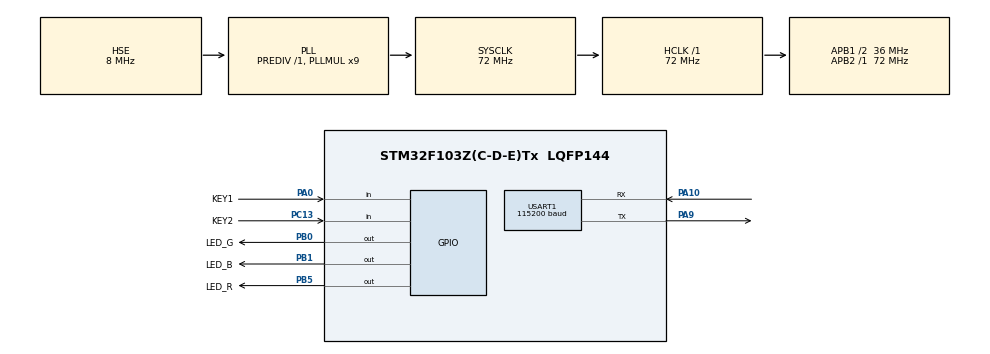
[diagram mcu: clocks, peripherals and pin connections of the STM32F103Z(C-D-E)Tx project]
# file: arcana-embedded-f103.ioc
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FREERTOS.Tasks01=defaultTask,24,256,StartDefaultTask,Default,NULL,Dynamic,NULL,NULL
FREERTOS.configTOTAL_HEAP_SIZE=10240
FREERTOS.configUSE_NEWLIB_REENTRANT=0
Mcu.Family=STM32F1
Mcu.Name=STM32F103Z(C-D-E)Tx
Mcu.Package=LQFP144
NVIC.PriorityGroup=NVIC_PRIORITYGROUP_4
NVIC.TIM4_IRQn=true\:15\:0\:false\:false\:true\:false\:false\:true\:true
NVIC.TimeBase=TIM4_IRQn
NVIC.TimeBaseIP=TIM4
NVIC.USART1_IRQn=true\:5\:0\:false\:false\:true\:true\:true\:true\:true
OSC_IN.Mode=HSE-External-Oscillator
OSC_IN.Signal=RCC_OSC_IN
OSC_OUT.Mode=HSE-External-Oscillator
OSC_OUT.Signal=RCC_OSC_OUT
PA0-WKUP.GPIO_Label=KEY1
PA0-WKUP.Signal=GPIO_Input
PA10.Mode=Asynchronous
PA10.Signal=USART1_RX
PA13.Mode=Serial_Wire
PA13.Signal=SYS_JTMS-SWDIO
PA14.Mode=Serial_Wire
PA14.Signal=SYS_JTCK-SWCLK
PA9.Mode=Asynchronous
PA9.Signal=USART1_TX
PB0.GPIO_Label=LED_G
PB0.GPIO_Speed=GPIO_SPEED_FREQ_LOW
PB0.PinState=GPIO_PIN_SET
PB0.Signal=GPIO_Output
PB1.GPIO_Label=LED_B
PB1.GPIO_Speed=GPIO_SPEED_FREQ_LOW
PB1.PinState=GPIO_PIN_SET
PB1.Signal=GPIO_Output
PB5.GPIO_Label=LED_R
PB5.GPIO_Speed=GPIO_SPEED_FREQ_LOW
PB5.PinState=GPIO_PIN_SET
PB5.Signal=GPIO_Output
PC13-TAMPER-RTC.GPIO_Label=KEY2
PC13-TAMPER-RTC.Signal=GPIO_Input
PD0.Signal=FSMC_D2_DA2
PD1.Signal=FSMC_D3_DA3
PD10.Signal=FSMC_D15_DA15
PD14.Signal=FSMC_D0_DA0
PD15.Signal=FSMC_D1_DA1
PD4.Signal=FSMC_NOE
PD5.Signal=FSMC_NWE
PD8.Signal=FSMC_D13_DA13
PD9.Signal=FSMC_D14_DA14
PE10.Signal=FSMC_D7_DA7
PE11.Signal=FSMC_D8_DA8
PE12.Signal=FSMC_D9_DA9
PE13.Signal=FSMC_D10_DA10
PE14.Signal=FSMC_D11_DA11
PE15.Signal=FSMC_D12_DA12
PE2.Signal=FSMC_A23
PE7.Signal=FSMC_D4_DA4
PE8.Signal=FSMC_D5_DA5
PE9.Signal=FSMC_D6_DA6
PG12.Signal=FSMC_NE4
ProjectManager.HeapSize=0x200
ProjectManager.StackSize=0x400
ProjectManager.TargetToolchain=STM32CubeIDE
RCC.AHBFreq_Value=72000000
RCC.APB1CLKDivider=RCC_HCLK_DIV2
RCC.APB1Freq_Value=36000000
RCC.APB1TimFreq_Value=72000000
RCC.APB2Freq_Value=72000000
RCC.APB2TimFreq_Value=72000000
RCC.HCLKFreq_Value=72000000
RCC.HSE_VALUE=8000000
RCC.PLLMUL=RCC_PLL_MUL9
RCC.PLLMul=RCC_PLL_MUL9
RCC.PLLSourceVirtual=RCC_PLLSOURCE_HSE
RCC.SYSCLKFreq_VALUE=72000000
RCC.SYSCLKSource=RCC_SYSCLKSOURCE_PLLCLK
RCC.USBFreq_Value=72000000
SH.FSMC_A23.0=FSMC_A23
SH.FSMC_D0_DA0.0=FSMC_D0
SH.FSMC_D10_DA10.0=FSMC_D10
SH.FSMC_D11_DA11.0=FSMC_D11
SH.FSMC_D12_DA12.0=FSMC_D12
SH.FSMC_D13_DA13.0=FSMC_D13
SH.FSMC_D14_DA14.0=FSMC_D14
SH.FSMC_D15_DA15.0=FSMC_D15
SH.FSMC_D1_DA1.0=FSMC_D1
SH.FSMC_D2_DA2.0=FSMC_D2
SH.FSMC_D3_DA3.0=FSMC_D3
SH.FSMC_D4_DA4.0=FSMC_D4
SH.FSMC_D5_DA5.0=FSMC_D5
SH.FSMC_D6_DA6.0=FSMC_D6
SH.FSMC_D7_DA7.0=FSMC_D7
SH.FSMC_D8_DA8.0=FSMC_D8
SH.FSMC_D9_DA9.0=FSMC_D9
SH.FSMC_NOE.0=FSMC_NOE
SH.FSMC_NWE.0=FSMC_NWE
USART1.BaudRate=115200
USART1.VirtualMode=VM_ASYNC
VP_FREERTOS_VS_CMSIS_V2.Mode=CMSIS_V2
VP_SYS_VS_tim4.Mode=TIM4
board=custom

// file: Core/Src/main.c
/* USER CODE BEGIN Header */
/**
  ******************************************************************************
  * @file           : main.c
  * @brief          : Main program body
  ******************************************************************************
  * @attention
  *
  * Copyright (c) 2026 STMicroelectronics.
  * All rights reserved.
  *
  * This software is licensed under terms that can be found in the LICENSE file
  * in the root directory of this software component.
  * If no LICENSE file comes with this software, it is provided AS-IS.
  *
  ******************************************************************************
  */
/* USER CODE END Header */
#include "main.h"
#include "cmsis_os.h"

/* USER CODE BEGIN Includes */
#include "App.hpp"
#include <stdio.h>
/* USER CODE END Includes */

UART_HandleTypeDef huart1;

/* Definitions for defaultTask */
osThreadId_t defaultTaskHandle;
const osThreadAttr_t defaultTask_attributes = {
  .name = "defaultTask",
  .stack_size = 384 * 4,  /* 1.5KB — needed for EspFlasher f_open depth */
  .priority = (osPriority_t) osPriorityNormal,
};

void SystemClock_Config(void);
static void MX_GPIO_Init(void);
static void MX_USART1_UART_Init(void);
void StartDefaultTask(void *argument);

/* USER CODE BEGIN 0 */
int __io_putchar(int ch) {
  HAL_UART_Transmit(&huart1, (uint8_t*)&ch, 1, 10);
  return ch;
}
/* USER CODE END 0 */

int main(void)
{

  /* MCU Configuration--------------------------------------------------------*/

  /* Reset of all peripherals, Initializes the Flash interface and the Systick. */
  HAL_Init();

  /* Configure the system clock */
  SystemClock_Config();

  /* Initialize all configured peripherals */
  MX_GPIO_Init();
  MX_USART1_UART_Init();
  /* USER CODE BEGIN 2 */
  printf("[BOOT] arcana-embedded-f103 started\r\n");

  // Initialize RTC (backup domain, LSE or LSI, 1Hz prescaler)
  {
    __HAL_RCC_PWR_CLK_ENABLE();
    __HAL_RCC_BKP_CLK_ENABLE();
    HAL_PWR_EnableBkUpAccess();

    if (BKP->DR1 != 0xA5A5) {
      // First time — configure RTC
      RCC->BDCR |= RCC_BDCR_LSEON;
      uint32_t t = 5000000;
      while (!(RCC->BDCR & RCC_BDCR_LSERDY) && t > 0) { t--; }

      if (RCC->BDCR & RCC_BDCR_LSERDY) {
        RCC->BDCR = (RCC->BDCR & ~RCC_BDCR_RTCSEL) | RCC_BDCR_RTCSEL_LSE;
      } else {
        RCC->CSR |= RCC_CSR_LSION;
        while (!(RCC->CSR & RCC_CSR_LSIRDY)) {}
        RCC->BDCR = (RCC->BDCR & ~RCC_BDCR_RTCSEL) | RCC_BDCR_RTCSEL_LSI;
      }
      RCC->BDCR |= RCC_BDCR_RTCEN;
      RTC->CRL &= ~RTC_CRL_RSF; while (!(RTC->CRL & RTC_CRL_RSF)) {}
      while (!(RTC->CRL & RTC_CRL_RTOFF)) {} RTC->CRL |= RTC_CRL_CNF;
      RTC->PRLH = 0;
      RTC->PRLL = (RCC->BDCR & RCC_BDCR_LSERDY) ? 32767 : 39999;
      RTC->CNTH = 0; RTC->CNTL = 0;
      RTC->CRL &= ~RTC_CRL_CNF; while (!(RTC->CRL & RTC_CRL_RTOFF)) {}
      BKP->DR1 = 0xA5A5;
      printf("[BOOT] RTC configured\r\n");
    } else {
      RCC->BDCR |= RCC_BDCR_RTCEN;
      RTC->CRL &= ~RTC_CRL_RSF; while (!(RTC->CRL & RTC_CRL_RSF)) {}
      printf("[BOOT] RTC restored\r\n");
    }
  }
  /* USER CODE END 2 */

  /* Init scheduler */
  osKernelInitialize();

  /* Create the thread(s) */
  /* creation of defaultTask */
  defaultTaskHandle = osThreadNew(StartDefaultTask, NULL, &defaultTask_attributes);

  /* Start scheduler */
  osKernelStart();

  /* We should never get here as control is now taken by the scheduler */

  /* Infinite loop */
  while (1)
  {

  }
}

void SystemClock_Config(void)
{
  RCC_OscInitTypeDef RCC_OscInitStruct = {0};
  RCC_ClkInitTypeDef RCC_ClkInitStruct = {0};

  /** Initializes the RCC Oscillators according to the specified parameters
  * in the RCC_OscInitTypeDef structure.
  */
  RCC_OscInitStruct.OscillatorType = RCC_OSCILLATORTYPE_HSE;
  RCC_OscInitStruct.HSEState = RCC_HSE_ON;
  RCC_OscInitStruct.HSEPredivValue = RCC_HSE_PREDIV_DIV1;
  RCC_OscInitStruct.HSIState = RCC_HSI_ON;
  RCC_OscInitStruct.PLL.PLLState = RCC_PLL_ON;
  RCC_OscInitStruct.PLL.PLLSource = RCC_PLLSOURCE_HSE;
  RCC_OscInitStruct.PLL.PLLMUL = RCC_PLL_MUL9;
  if (HAL_RCC_OscConfig(&RCC_OscInitStruct) != HAL_OK)
  {
    Error_Handler();
  }

  /** Initializes the CPU, AHB and APB buses clocks
  */
  RCC_ClkInitStruct.ClockType = RCC_CLOCKTYPE_HCLK|RCC_CLOCKTYPE_SYSCLK
                              |RCC_CLOCKTYPE_PCLK1|RCC_CLOCKTYPE_PCLK2;
  RCC_ClkInitStruct.SYSCLKSource = RCC_SYSCLKSOURCE_PLLCLK;
  RCC_ClkInitStruct.AHBCLKDivider = RCC_SYSCLK_DIV1;
  RCC_ClkInitStruct.APB1CLKDivider = RCC_HCLK_DIV2;
  RCC_ClkInitStruct.APB2CLKDivider = RCC_HCLK_DIV1;

  if (HAL_RCC_ClockConfig(&RCC_ClkInitStruct, FLASH_LATENCY_2) != HAL_OK)
  {
    Error_Handler();
  }
}

static void MX_USART1_UART_Init(void)
{

  huart1.Instance = USART1;
  huart1.Init.BaudRate = 115200;
  huart1.Init.WordLength = UART_WORDLENGTH_8B;
  huart1.Init.StopBits = UART_STOPBITS_1;
  huart1.Init.Parity = UART_PARITY_NONE;
  huart1.Init.Mode = UART_MODE_TX_RX;
  huart1.Init.HwFlowCtl = UART_HWCONTROL_NONE;
  huart1.Init.OverSampling = UART_OVERSAMPLING_16;
  if (HAL_UART_Init(&huart1) != HAL_OK)
  {
    Error_Handler();
  }

}

static void MX_GPIO_Init(void)
{
  GPIO_InitTypeDef GPIO_InitStruct = {0};

  /* GPIO Ports Clock Enable */
  __HAL_RCC_GPIOE_CLK_ENABLE();
  __HAL_RCC_GPIOC_CLK_ENABLE();
  __HAL_RCC_GPIOA_CLK_ENABLE();
  __HAL_RCC_GPIOB_CLK_ENABLE();
  __HAL_RCC_GPIOD_CLK_ENABLE();
  __HAL_RCC_GPIOG_CLK_ENABLE();

  /*Configure GPIO pin Output Level */
  HAL_GPIO_WritePin(GPIOB, LED_G_Pin|LED_B_Pin|LED_R_Pin, GPIO_PIN_SET);

  /*Configure GPIO pins : PE2 PE7 PE8 PE9
                           PE10 PE11 PE12 PE13
                           PE14 PE15 */
  GPIO_InitStruct.Pin = GPIO_PIN_2|GPIO_PIN_7|GPIO_PIN_8|GPIO_PIN_9
                          |GPIO_PIN_10|GPIO_PIN_11|GPIO_PIN_12|GPIO_PIN_13
                          |GPIO_PIN_14|GPIO_PIN_15;
  GPIO_InitStruct.Mode = GPIO_MODE_AF_PP;
  GPIO_InitStruct.Speed = GPIO_SPEED_FREQ_HIGH;
  HAL_GPIO_Init(GPIOE, &GPIO_InitStruct);

  /*Configure GPIO pin : KEY2_Pin */
  GPIO_InitStruct.Pin = KEY2_Pin;
  GPIO_InitStruct.Mode = GPIO_MODE_INPUT;
  GPIO_InitStruct.Pull = GPIO_NOPULL;
  HAL_GPIO_Init(KEY2_GPIO_Port, &GPIO_InitStruct);

  /*Configure GPIO pin : KEY1_Pin */
  GPIO_InitStruct.Pin = KEY1_Pin;
  GPIO_InitStruct.Mode = GPIO_MODE_INPUT;
  GPIO_InitStruct.Pull = GPIO_NOPULL;
  HAL_GPIO_Init(KEY1_GPIO_Port, &GPIO_InitStruct);

  /*Configure GPIO pins : LED_G_Pin LED_B_Pin LED_R_Pin */
  GPIO_InitStruct.Pin = LED_G_Pin|LED_B_Pin|LED_R_Pin;
  GPIO_InitStruct.Mode = GPIO_MODE_OUTPUT_PP;
  GPIO_InitStruct.Pull = GPIO_NOPULL;
  GPIO_InitStruct.Speed = GPIO_SPEED_FREQ_LOW;
  HAL_GPIO_Init(GPIOB, &GPIO_InitStruct);

  /*Configure GPIO pins : PD8 PD9 PD10 PD14
                           PD15 PD0 PD1 PD4
                           PD5 */
  GPIO_InitStruct.Pin = GPIO_PIN_8|GPIO_PIN_9|GPIO_PIN_10|GPIO_PIN_14
                          |GPIO_PIN_15|GPIO_PIN_0|GPIO_PIN_1|GPIO_PIN_4
                          |GPIO_PIN_5;
  GPIO_InitStruct.Mode = GPIO_MODE_AF_PP;
  GPIO_InitStruct.Speed = GPIO_SPEED_FREQ_HIGH;
  HAL_GPIO_Init(GPIOD, &GPIO_InitStruct);

  /*Configure GPIO pin : PG12 */
  GPIO_InitStruct.Pin = GPIO_PIN_12;
  GPIO_InitStruct.Mode = GPIO_MODE_AF_PP;
  GPIO_InitStruct.Speed = GPIO_SPEED_FREQ_HIGH;
  HAL_GPIO_Init(GPIOG, &GPIO_InitStruct);

}

void StartDefaultTask(void *argument)
{
  /* USER CODE BEGIN 5 */
  App_Init();
  /* Infinite loop */
  for(;;)
  {
    App_Run();
  }
  /* USER CODE END 5 */
}

void HAL_TIM_PeriodElapsedCallback(TIM_HandleTypeDef *htim)
{
  if (htim->Instance == TIM4)
  {
    HAL_IncTick();
  }
}

void Error_Handler(void)
{
  __disable_irq();
  while (1)
  {
  }
}
